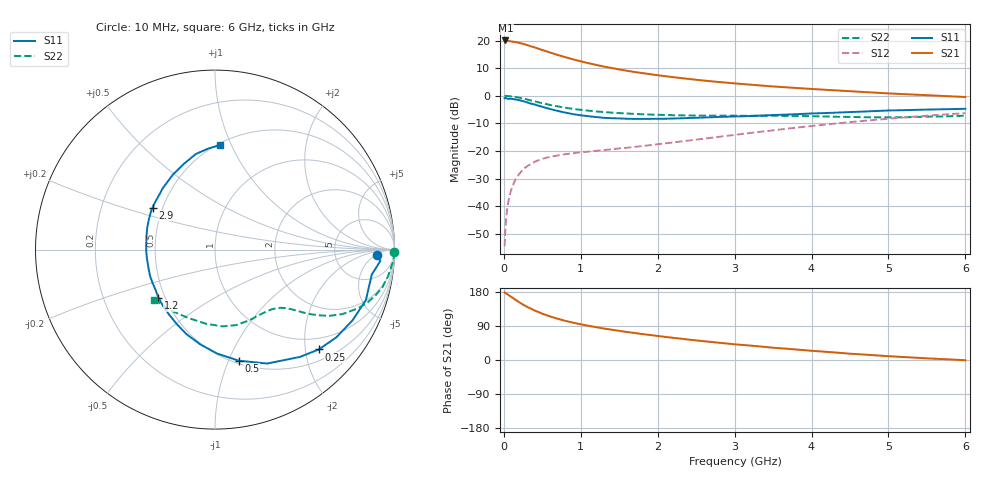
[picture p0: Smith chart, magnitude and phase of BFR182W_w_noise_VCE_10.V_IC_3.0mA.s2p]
! (c) 2017  Infineon Technologies AG, Munich
! Infineon Technologies  Discrete & RF Semiconductors
! BFR182W
! VCE =  10. V,  IC =  3.0 mA
! Common Emitter S-Parameters:  Jan 2017
# GHz  S  MA  R  50
!  f  S11  S21  S12  S22
! GHz  MAG  ANG  MAG  ANG  MAG  ANG  MAG  ANG
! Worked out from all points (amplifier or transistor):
!   77 points, 10 MHz to 6 GHz, reference 50 ohm
!   highest |S21| = 20.1 dB at 20 MHz (marker M1)
!   |S21| within 3 dB of that: start of sweep to 450.8 MHz
!   unconditionally stable (mu >= 1): 1.591 GHz to 2.996 GHz
!   at 130 MHz: K = 0.11, MSG = 25.5 dB, |S12| = -31.5 dB
!   at 2.2 GHz: K = 1.07, MAG = 10.2 dB, |S12| = -16.9 dB
!   at 6 GHz: K = 0.81, MSG = 2.9 dB, |S12| = -6.3 dB
!   lowest NFmin = 0.82 dB at 450 MHz
!   S11 on the Smith chart (normalised r, x): 10 MHz: 18, -6; 250 MHz: 0.73, -2.28; 500 MHz: 0.53, -1.09; 1.2 GHz: 0.46, -0.30; 2.9 GHz: 0.44, +0.25; 6 GHz: 0.51, +0.91
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0.01  0.9041 -2.0  9.921 178.3  0.0019 82.3  1 -0.8
0.02  0.9234 -3.9  10.07 177.1  0.0038 94.3  0.9997 -1.8
0.06  0.8829 -11.0  9.822 171.5  0.0124 82.6  0.9882 -5.2
0.1  0.8864 -18.5  9.673 166.0  0.0206 80.3  0.9763 -8.6
0.15  0.8618 -27.2  9.413 159.0  0.0304 75.7  0.9556 -12.7
0.25  0.8024 -43.9  8.754 146.1  0.0463 66.9  0.8967 -19.4
0.3  0.7627 -51.6  8.326 140.5  0.053 63.0  0.8611 -22.3
0.4  0.6983 -65.4  7.542 130.5  0.064 57.6  0.7963 -26.8
0.5  0.6332 -77.9  6.763 122.2  0.0725 53.6  0.7358 -30.1
0.6  0.5785 -89.0  6.097 115.0  0.0788 50.9  0.6852 -32.3
0.7  0.5333 -99.1  5.498 108.8  0.0832 49.0  0.6438 -34.0
0.8  0.4976 -108.5  5.014 103.3  0.0881 48.3  0.6096 -35.3
0.9  0.467 -117.0  4.579 98.5  0.0915 47.4  0.5812 -36.3
1.1  0.4279 -132.5  3.909 90.3  0.0977 47.9  0.5395 -38.0
1.2  0.4137 -139.6  3.635 86.6  0.1012 48.0  0.5228 -38.9
1.6  0.3851 -163.6  2.846 73.9  0.115 51.1  0.4798 -42.8
2.1  0.3855 172.9  2.27 61.0  0.1382 55.7  0.4504 -49.6
2.9  0.4191 146.0  1.73 43.5  0.1889 59.5  0.4374 -63.4
3.1  0.4271 140.3  1.639 39.8  0.2045 59.6  0.4362 -67.0
4.1  0.4846 117.1  1.308 22.9  0.2944 56.2  0.4255 -86.8
5.1  0.547 99.6  1.091 8.9  0.396 47.9  0.409 -114.6
6  0.5833 87.2  0.952 -0.6  0.4867 38.1  0.438 -140.5
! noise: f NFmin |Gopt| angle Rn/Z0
0.45  0.82  0.39  31  0.2
0.9  0.95  0.3  57  0.2
1.9  1.6  0.25  149  0.12
2.4  1.92  0.23  170  0.17
